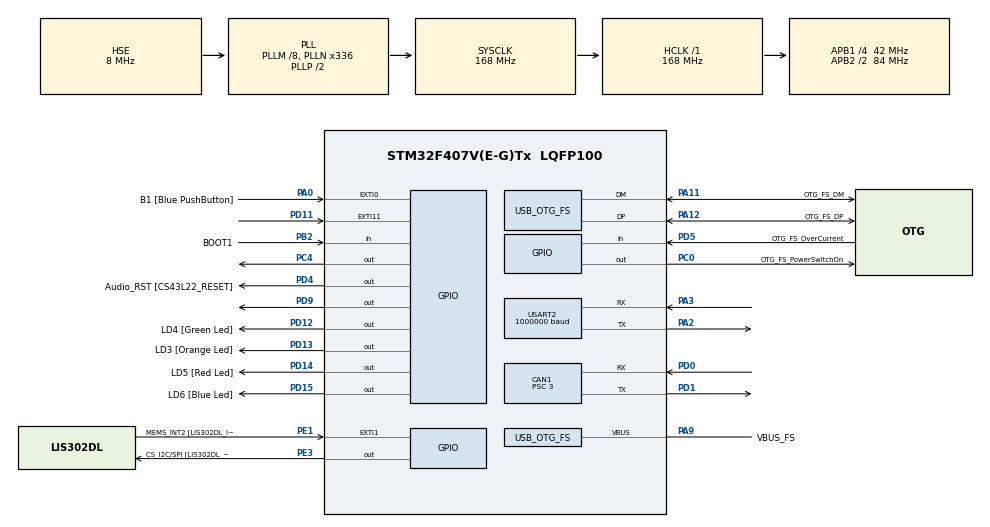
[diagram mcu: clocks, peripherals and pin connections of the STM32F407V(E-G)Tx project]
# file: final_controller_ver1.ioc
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CAN1.BS1=CAN_BS1_11TQ
CAN1.BS2=CAN_BS2_2TQ
CAN1.CalculateBaudRate=1000000
CAN1.CalculateTimeBit=1000
CAN1.CalculateTimeQuantum=71.42857142857143
CAN1.Prescaler=3
Mcu.Family=STM32F4
Mcu.Name=STM32F407V(E-G)Tx
Mcu.Package=LQFP100
NVIC.CAN1_RX0_IRQn=true\:0\:0\:false\:false\:true\:true\:true\:true
NVIC.EXTI15_10_IRQn=true\:0\:0\:false\:false\:true\:true\:true\:true
NVIC.OTG_FS_IRQn=true\:0\:0\:false\:false\:true\:true\:true\:true
NVIC.PriorityGroup=NVIC_PRIORITYGROUP_0
PA0-WKUP.GPIO_Label=B1 [Blue PushButton]
PA0-WKUP.GPIO_ModeDefaultEXTI=GPIO_MODE_EVT_RISING
PA0-WKUP.GPIO_PuPd=GPIO_NOPULL
PA0-WKUP.Signal=GPXTI0
PA10.GPIO_Label=OTG_FS_ID
PA10.GPIO_Mode=GPIO_MODE_AF_PP
PA10.GPIO_PuPd=GPIO_NOPULL
PA10.GPIO_Speed=GPIO_SPEED_FREQ_LOW
PA10.Signal=USB_OTG_FS_ID
PA11.GPIO_Label=OTG_FS_DM
PA11.GPIO_Mode=GPIO_MODE_AF_PP
PA11.GPIO_PuPd=GPIO_NOPULL
PA11.GPIO_Speed=GPIO_SPEED_FREQ_LOW
PA11.Mode=Host_Only
PA11.Signal=USB_OTG_FS_DM
PA12.GPIO_Label=OTG_FS_DP
PA12.GPIO_Mode=GPIO_MODE_AF_PP
PA12.GPIO_PuPd=GPIO_NOPULL
PA12.GPIO_Speed=GPIO_SPEED_FREQ_LOW
PA12.Mode=Host_Only
PA12.Signal=USB_OTG_FS_DP
PA13.GPIO_Label=SWDIO
PA13.Mode=Serial_Wire
PA13.Signal=SYS_JTMS-SWDIO
PA14.GPIO_Label=SWCLK
PA14.Mode=Serial_Wire
PA14.Signal=SYS_JTCK-SWCLK
PA2.Mode=Asynchronous
PA2.Signal=USART2_TX
PA3.Mode=Asynchronous
PA3.Signal=USART2_RX
PA4.GPIO_Label=I2S3_WS [CS43L22_LRCK]
PA4.GPIO_Mode=GPIO_MODE_AF_PP
PA4.GPIO_PuPd=GPIO_NOPULL
PA4.GPIO_Speed=GPIO_SPEED_FREQ_LOW
PA4.Signal=I2S3_WS
PA5.GPIO_Label=SPI1_SCK [LIS302DL_SCL/SPC]
PA5.GPIO_Mode=GPIO_MODE_AF_PP
PA5.GPIO_PuPd=GPIO_NOPULL
PA5.GPIO_Speed=GPIO_SPEED_FREQ_LOW
PA5.Signal=SPI1_SCK
PA6.GPIO_Label=SPI1_MISO [LIS302DL_SDO]
PA6.GPIO_Mode=GPIO_MODE_AF_PP
PA6.GPIO_PuPd=GPIO_NOPULL
PA6.GPIO_Speed=GPIO_SPEED_FREQ_LOW
PA6.Signal=SPI1_MISO
PA7.GPIO_Label=SPI1_MOSI [LIS302DL_SDA/SDI/SDO]
PA7.GPIO_Mode=GPIO_MODE_AF_PP
PA7.GPIO_PuPd=GPIO_NOPULL
PA7.GPIO_Speed=GPIO_SPEED_FREQ_LOW
PA7.Signal=SPI1_MOSI
PA9.GPIO_Label=VBUS_FS
PA9.GPIO_Mode=GPIO_MODE_INPUT
PA9.GPIO_PuPd=GPIO_NOPULL
PA9.Mode=Activate_VBUS
PA9.Signal=USB_OTG_FS_VBUS
PB10.GPIO_Label=CLK_IN [MP45DT02_CLK]
PB10.GPIO_Mode=GPIO_MODE_AF_PP
PB10.GPIO_PuPd=GPIO_NOPULL
PB10.GPIO_Speed=GPIO_SPEED_FREQ_LOW
PB10.Signal=I2S2_CK
PB2.GPIO_Label=BOOT1
PB2.GPIO_Mode=GPIO_MODE_INPUT
PB2.GPIO_PuPd=GPIO_NOPULL
PB2.Signal=GPIO_Input
PB3.GPIO_Label=SWO
PB3.Signal=SYS_JTDO-SWO
PB6.GPIO_Label=Audio_SCL [CS43L22_SCL]
PB6.GPIO_Mode=GPIO_MODE_AF_OD
PB6.GPIO_Pu=GPIO_PULLUP
PB6.GPIO_PuPd=GPIO_NOPULL
PB6.GPIO_Speed=GPIO_SPEED_FREQ_LOW
PB6.Signal=I2C1_SCL
PB9.GPIO_Label=Audio_SDA [CS43L22_SDA]
PB9.GPIO_Mode=GPIO_MODE_AF_OD
PB9.GPIO_Pu=GPIO_PULLUP
PB9.GPIO_PuPd=GPIO_NOPULL
PB9.GPIO_Speed=GPIO_SPEED_FREQ_LOW
PB9.Signal=I2C1_SDA
PC0.GPIO_Label=OTG_FS_PowerSwitchOn
PC0.GPIO_PuPd=GPIO_NOPULL
PC0.GPIO_Speed=GPIO_SPEED_FREQ_LOW
PC0.PinState=GPIO_PIN_SET
PC0.Signal=GPIO_Output
PC10.GPIO_Label=I2S3_SCK [CS43L22_SCLK]
PC10.GPIO_Mode=GPIO_MODE_AF_PP
PC10.GPIO_PuPd=GPIO_NOPULL
PC10.GPIO_Speed=GPIO_SPEED_FREQ_LOW
PC10.Signal=I2S3_CK
PC12.GPIO_Label=I2S3_SD [CS43L22_SDIN]
PC12.GPIO_Mode=GPIO_MODE_AF_PP
PC12.GPIO_PuPd=GPIO_NOPULL
PC12.GPIO_Speed=GPIO_SPEED_FREQ_LOW
PC12.Signal=I2S3_SD
PC14-OSC32_IN.GPIO_Label=PC14-OSC32_IN
PC14-OSC32_IN.Mode=LSE-External-Oscillator
PC14-OSC32_IN.Signal=RCC_OSC32_IN
PC15-OSC32_OUT.GPIO_Label=PC15-OSC32_OUT
PC15-OSC32_OUT.Mode=LSE-External-Oscillator
PC15-OSC32_OUT.Signal=RCC_OSC32_OUT
PC3.GPIO_Label=PDM_OUT [MP45DT02_DOUT]
PC3.GPIO_Mode=GPIO_MODE_AF_PP
PC3.GPIO_PuPd=GPIO_NOPULL
PC3.GPIO_Speed=GPIO_SPEED_FREQ_LOW
PC3.Signal=I2S2_SD
PC4.Signal=GPIO_Output
PC7.GPIO_Label=I2S3_MCK [CS43L22_MCLK]
PC7.GPIO_Mode=GPIO_MODE_AF_PP
PC7.GPIO_PuPd=GPIO_NOPULL
PC7.GPIO_Speed=GPIO_SPEED_FREQ_LOW
PC7.Signal=I2S3_MCK
PD0.Mode=CAN_Activate
PD0.Signal=CAN1_RX
PD1.Mode=CAN_Activate
PD1.Signal=CAN1_TX
PD11.GPIO_ModeDefaultEXTI=GPIO_MODE_IT_FALLING
PD11.GPIO_PuPd=GPIO_PULLUP
PD11.Signal=GPXTI11
PD12.GPIO_Label=LD4 [Green Led]
PD12.GPIO_PuPd=GPIO_NOPULL
PD12.GPIO_Speed=GPIO_SPEED_FREQ_LOW
PD12.Signal=GPIO_Output
PD13.GPIO_Label=LD3 [Orange Led]
PD13.GPIO_PuPd=GPIO_NOPULL
PD13.GPIO_Speed=GPIO_SPEED_FREQ_LOW
PD13.Signal=GPIO_Output
PD14.GPIO_Label=LD5 [Red Led]
PD14.GPIO_PuPd=GPIO_NOPULL
PD14.GPIO_Speed=GPIO_SPEED_FREQ_LOW
PD14.Signal=GPIO_Output
PD15.GPIO_Label=LD6 [Blue Led]
PD15.GPIO_PuPd=GPIO_NOPULL
PD15.GPIO_Speed=GPIO_SPEED_FREQ_LOW
PD15.Signal=GPIO_Output
PD4.GPIO_Label=Audio_RST [CS43L22_RESET]
PD4.GPIO_PuPd=GPIO_NOPULL
PD4.GPIO_Speed=GPIO_SPEED_FREQ_LOW
PD4.Signal=GPIO_Output
PD5.GPIO_Label=OTG_FS_OverCurrent
PD5.GPIO_Mode=GPIO_MODE_INPUT
PD5.GPIO_PuPd=GPIO_NOPULL
PD5.Signal=GPIO_Input
PD9.Signal=GPIO_Output
PE1.GPIO_Label=MEMS_INT2 [LIS302DL_INT2]
PE1.GPIO_ModeDefaultEXTI=GPIO_MODE_EVT_RISING
PE1.GPIO_PuPd=GPIO_NOPULL
PE1.Signal=GPXTI1
PE3.GPIO_Label=CS_I2C/SPI [LIS302DL_CS_I2C/SPI]
PE3.GPIO_PuPd=GPIO_NOPULL
PE3.GPIO_Speed=GPIO_SPEED_FREQ_LOW
PE3.Signal=GPIO_Output
PH0-OSC_IN.GPIO_Label=PH0-OSC_IN
PH0-OSC_IN.Mode=HSE-External-Oscillator
PH0-OSC_IN.Signal=RCC_OSC_IN
PH1-OSC_OUT.GPIO_Label=PH1-OSC_OUT
PH1-OSC_OUT.Mode=HSE-External-Oscillator
PH1-OSC_OUT.Signal=RCC_OSC_OUT
ProjectManager.HeapSize=0x200
ProjectManager.StackSize=0x400
ProjectManager.TargetToolchain=MDK-ARM V5
RCC.48MHZClocksFreq_Value=48000000
RCC.AHBFreq_Value=168000000
RCC.APB1CLKDivider=RCC_HCLK_DIV4
RCC.APB1Freq_Value=42000000
RCC.APB1TimFreq_Value=84000000
RCC.APB2CLKDivider=RCC_HCLK_DIV2
RCC.APB2Freq_Value=84000000
RCC.APB2TimFreq_Value=168000000
RCC.CortexFreq_Value=168000000
RCC.HCLKFreq_Value=168000000
RCC.HSE_VALUE=8000000
RCC.HSI_VALUE=16000000
RCC.PLLM=8
RCC.PLLN=336
RCC.PLLQ=7
RCC.SYSCLKFreq_VALUE=168000000
RCC.SYSCLKSource=RCC_SYSCLKSOURCE_PLLCLK
RCC.VCOOutputFreq_Value=336000000
USART2.BaudRate=1000000
USART2.VirtualMode=VM_ASYNC
USB_HOST.BSP.number=1
USB_HOST.USBH_HandleTypeDef-CDC_FS=hUsbHostFS
USB_HOST.VirtualModeFS=Cdc
USB_HOST0.BSP.STBoard=false
USB_HOST0.BSP.api=Unknown
USB_HOST0.BSP.instance=PC0
USB_HOST0.BSP.ip=GPIO
USB_HOST0.BSP.mode=Output
USB_HOST0.BSP.name=Drive_VBUS_FS
USB_HOST0.BSP.solution=PC0
USB_OTG_FS.VirtualMode=Host_Only
USB_OTG_FS.phy_itface=HCD_PHY_EMBEDDED
VP_USB_HOST_VS_USB_HOST_CDC_FS.Mode=CDC_FS
board=STM32F407G-DISC1

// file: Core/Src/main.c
/* USER CODE BEGIN Header */
/**
 ******************************************************************************
 * @file           : main.c
 * @brief          : Main program body
 ******************************************************************************
 * @attention
 *
 * Copyright (c) 2024 STMicroelectronics.
 * All rights reserved.
 *
 * This software is licensed under terms that can be found in the LICENSE file
 * in the root directory of this software component.
 * If no LICENSE file comes with this software, it is provided AS-IS.
 *
 ******************************************************************************
 */
/* USER CODE END Header */
#include "main.h"
#include "can.h"
#include "usart.h"
#include "usb_host.h"
#include "gpio.h"

/* USER CODE BEGIN Includes */
#include "my_dynamixel.h"
#include "can_sys_table.h"
#include "stdlib.h"
#include "math.h"
/* USER CODE END Includes */

/* USER CODE BEGIN PD */

// for gripper motion state
#define GRIPPER_CONTROL_OFF 0
#define GRIPPER_INITIALIZING 1
#define GRIPPER_INITIALIZED 2
#define GRIPPER_START_RELEASING 3
#define GRIPPER_START_HOLDING 4
#define GRIPPER_KEEP_RELEASING 5
#define GRIPPER_KEEP_HOLDING 6
#define GRIPPER_MISS_RELEASING 7
#define GRIPPER_MISS_HOLDING 8

#define RELEASING_ANGLE 330
#define HOLDING_ANGLE 290
#define INITIAL_ANGLE 330

// #define GRIPPER_CONTROL_OFF 0
// #define GRIPPER_STATE_RELEASING 1
// #define GRIPPER_STATE_HOLDING 2

// for motor on/off state
#define GRIPPER_TORQUE_OFF 0
#define GRIPPER_TORQUE_ON 1

// for connection and initial check
#define CHECK 1
#define UNCHECK 0
#define UNKNOWN -1

/* USER CODE END PD */

/* USER CODE BEGIN PV */

// UART TX_PA2 RX_PA3

//  paramter for experiment
int flag = 0;
uint32_t startTick, endTick, delay_ms;
int recordFlag = 0;
/////////////////////////////////////////////

volatile ServoXM4340 myServo;

// CAN TX_PD1 RX_PD0
uint8_t TxData[8];
uint8_t RxData[8];
uint32_t TxMailbox = 0;
CAN_TxHeaderTypeDef TxHeader;
uint16_t canIndex;

int present_current = 0;
int last_current = 0;
int present_position = 0;
float present_angle = 0;

uint16_t goalCur = 30;
float goalAngle;
uint32_t goalForce = 0;

int gripperState = GRIPPER_CONTROL_OFF;
int torqueState = GRIPPER_TORQUE_OFF;
int initialCheck = UNCHECK;
int connectCheck = UNCHECK;
// int okFlag;

uint32_t startCheckPos;
uint32_t startCheckCur;
int initFailedCount = 0;

/* USER CODE END PV */

void SystemClock_Config(void);
void MX_USB_HOST_Process(void);

/* USER CODE BEGIN PFP */
void forceToCmd(int force, float angle);
/* USER CODE END PFP */

int main(void)
{

  /* MCU Configuration--------------------------------------------------------*/

  /* Reset of all peripherals, Initializes the Flash interface and the Systick. */
  HAL_Init();

  /* Configure the system clock */
  SystemClock_Config();

  /* Initialize all configured peripherals */
  MX_GPIO_Init();
  MX_USART2_UART_Init();
  MX_USB_HOST_Init();
  MX_CAN1_Init();
  /* USER CODE BEGIN 2 */
  myServo.huart = &huart2;
  myServo.ctrlPort = GPIOC;
  myServo.ctrlPin = GPIO_PIN_4;
  myServo.ID = 1;

  // servo state check for debugging
  setServo_TorqueENA(&myServo, TORQUE_DISABLE);
  setServo_OperatingMode(&myServo, CurrentBased_POS_CtrlMode);

  myServo.TorqueENA = getServo_TorqueENA(&myServo);
  myServo.BaudRate = getServo_BaudRate(&myServo);
  myServo.OperatingMode = getServo_OperatingMode(&myServo);

  // setServo_TorqueENA(&myServo, TORQUE_ENABLE);
  // torqueState = GRIPPER_TORQUE_ON;
  // setServo_GoalPosition(&myServo, 300);
  // HAL_GPIO_WritePin(GPIOD, LD4_Pin, GPIO_PIN_SET);

  // Set Can Filter
  CAN1_FilterInit(0,                     // Bank
                  CAN_FILTERMODE_IDLIST, // Mode
                  CAN_FILTERSCALE_16BIT, // Scale
                  1 << 5,                // FilterIdHigh
                  2 << 5,                // FilterIdLow
                  7 << 5,                // MaskIdHigh
                  0 << 5,                // MaskIdLow
                  CAN_FILTER_FIFO0,      // FIFOx
                  ENABLE);               // Activation

  // Enable Can Interrupt
  HAL_CAN_ActivateNotification(&hcan1, CAN_IT_RX_FIFO0_MSG_PENDING);
  HAL_CAN_Start(&hcan1);

  // 4 state managing
  gripperState = GRIPPER_CONTROL_OFF;
  torqueState = GRIPPER_TORQUE_OFF;
  initialCheck = UNKNOWN;
  connectCheck = UNKNOWN;
  initFailedCount = 0;

  // startTick = 0;
  // endTick = 0;
  // delay_ms = 0;

  /* USER CODE END 2 */

  /* Infinite loop */
  while (1)
  {
    MX_USB_HOST_Process();

    /* USER CODE BEGIN 3 */

    // delay_ms = endTick - startTick;

    // TxDataAssign(TxData, CANSYS_STATE_STM_INIT_OK, 0);
    // CAN_TxheaderSetup(&TxHeader, 1, 0, CAN_ID_STD, CAN_RTR_DATA, 8, DISABLE);
    // HAL_CAN_AddTxMessage(&hcan1, &TxHeader, TxData, &TxMailbox);

    // State check and switch
    // if (myServo.statsGRIPPER_STATE_UNKNOWN;

    //////////////////////////   some none-state managing   ////////////////////////////////
    //////////////////////////////////////////////////////////////////////////////

    // for motor on or off
    if (torqueState == GRIPPER_TORQUE_ON && myServo.TorqueENA == TORQUE_DISABLE)
    {
      setServo_TorqueENA(&myServo, TORQUE_ENABLE);
      myServo.TorqueENA = getServo_TorqueENA(&myServo);
    }

    if (connectCheck == UNCHECK)
    {
      TxDataAssign(TxData, CANSYS_STATE_STM_CONNECT_OK, 0);
      CAN_TxheaderSetup(&TxHeader, TxID_ONLY_PI, 0, CAN_ID_STD, CAN_RTR_DATA, 8, DISABLE);
      if (HAL_CAN_AddTxMessage(&hcan1, &TxHeader, TxData, &TxMailbox) != HAL_OK)
      {
        // HAL_GPIO_WritePin(GPIOD, LD3_Pin, GPIO_PIN_SET);
        flag = 0;
      }
      else
        flag = 1;
      connectCheck = CHECK;
    }

    /************************  state machine ***************************/
    /////////////////////////////////////////////////////////////////////////////

    // Monitor motor
    last_current = present_current;
    present_current = getServo_PresentCurrent(&myServo);
    present_position = getServo_PresentPosition(&myServo);
    present_angle = (float)present_position * 360.0 / 4096.0;

    if (torqueState == GRIPPER_TORQUE_ON)
    {
      switch (gripperState)
      {
      case GRIPPER_INITIALIZING:
      {
        // goalAngle = INITIAL_ANGLE;
        // goalCur = 30;

        // keep trying initialize until initialCheck success
        if (fabsf(present_angle - INITIAL_ANGLE) < 5)
        {
          if (abs(present_current) > 10)
          {
            if (startCheckCur == UNCHECK)
              startCheckCur = HAL_GetTick();
            else if (HAL_GetTick() - startCheckCur > 1000)
              initialCheck = startCheckCur = UNCHECK;
          }
          else
            initialCheck = CHECK;
          startCheckPos = UNCHECK;
        }
        else
        {
          if (startCheckPos == UNCHECK)
            startCheckPos = HAL_GetTick();
          else if (HAL_GetTick() - startCheckPos > 1000)
            initialCheck = startCheckPos = UNCHECK;
        }

        if (initialCheck == CHECK)
        {
          TxDataAssign(TxData, CANSYS_STATE_STM_INIT_OK, 0);
          CAN_TxheaderSetup(&TxHeader, TxID_ONLY_PI, 0, CAN_ID_STD, CAN_RTR_DATA, 8, DISABLE);
          HAL_CAN_AddTxMessage(&hcan1, &TxHeader, TxData, &TxMailbox);
          gripperState = GRIPPER_INITIALIZED;
          startCheckPos = startCheckCur = UNCHECK;
        }
        else if (initialCheck == UNCHECK)
        {
          initialCheck = UNKNOWN;
          TxDataAssign(TxData, CANSYS_STATE_STM_INIT_NOTOK, 0);
          CAN_TxheaderSetup(&TxHeader, TxID_ONLY_PI, 0, CAN_ID_STD, CAN_RTR_DATA, 8, DISABLE);
          HAL_CAN_AddTxMessage(&hcan1, &TxHeader, TxData, &TxMailbox);
        }

        break;
      }

      /********************************************************************* */
      case GRIPPER_INITIALIZED:
      {
        // goalAngle = INITIAL_ANGLE;
        // goalCur = 30;

        int ok_Flag = true;

        if (fabsf(present_angle - INITIAL_ANGLE) < 5)
        {
          if (abs(present_current) > 10)
          {
            if (startCheckCur == false)
              startCheckCur = HAL_GetTick();
            else if (HAL_GetTick() - startCheckCur > 500)
              ok_Flag = startCheckCur = false;
          }
          else
            startCheckCur = 0;
          startCheckPos = 0;
        }
        else
        {
          if (startCheckPos == false)
            startCheckPos = HAL_GetTick();
          else if (HAL_GetTick() - startCheckPos > 500)
            ok_Flag = startCheckPos = false;
        }

        if (!ok_Flag)
        {
          gripperState = GRIPPER_INITIALIZING;
          TxDataAssign(TxData, CANSYS_STATE_STM_INIT_NOTOK, 0);
          CAN_TxheaderSetup(&TxHeader, TxID_ONLY_PI, 0, CAN_ID_STD, CAN_RTR_DATA, 8, DISABLE);
          HAL_CAN_AddTxMessage(&hcan1, &TxHeader, TxData, &TxMailbox);
          initFailedCount = startCheckPos = startCheckCur = false;
          initialCheck = UNKNOWN;
        }

        break;
      }

      /********************************************************************* */
      case GRIPPER_START_RELEASING:
      {
        // send pi start releasing
        TxDataAssign(TxData, CANSYS_STATE_STM_START_RELEASING, 0);
        CAN_TxheaderSetup(&TxHeader, TxID_ONLY_PI, 0, CAN_ID_STD, CAN_RTR_DATA, 8, DISABLE);
        HAL_CAN_AddTxMessage(&hcan1, &TxHeader, TxData, &TxMailbox);

        // motion commend
        // goalAngle = 320;
        // goalCur = 200;

        // next state

        gripperState = GRIPPER_KEEP_RELEASING;
        break;
      }
      /********************************************************************* */
      case GRIPPER_START_HOLDING:
      {
        // send pi start holding
        TxDataAssign(TxData, CANSYS_STATE_STM_START_HOLDING, 0);
        CAN_TxheaderSetup(&TxHeader, TxID_ONLY_PI, 0, CAN_ID_STD, CAN_RTR_DATA, 8, DISABLE);
        HAL_CAN_AddTxMessage(&hcan1, &TxHeader, TxData, &TxMailbox);

        // motion commend
        // goalAngle = 280;
        // goalCur = 200;

        // next state
        gripperState = GRIPPER_KEEP_HOLDING;
        break;
      }

      /********************************************************************* */
      case GRIPPER_KEEP_RELEASING:
      {
        // goalCur = 30;
        // goalAngle = RELEASING_ANGLE;
        int missRelFlag = true;

        if (fabsf(present_angle - RELEASING_ANGLE) < 5)
        {
          if (abs(present_current) > 10)
          {
            if (startCheckCur == false)
              startCheckCur = HAL_GetTick();
            else if (HAL_GetTick() - startCheckCur > 500)
              missRelFlag = startCheckCur = false;
          }
          else
            startCheckCur = 0;
          startCheckPos = 0;
        }
        else
        {
          if (startCheckPos == false)
            startCheckPos = HAL_GetTick();
          else if (HAL_GetTick() - startCheckPos > 500)
            missRelFlag = startCheckPos = false;
        }

        if (!missRelFlag)
        {
          gripperState = GRIPPER_MISS_RELEASING;
          TxDataAssign(TxData, CANSYS_STATE_STM_MISS_RELEASING, 0);
          CAN_TxheaderSetup(&TxHeader, TxID_ONLY_PI, 0, CAN_ID_STD, CAN_RTR_DATA, 8, DISABLE);
          HAL_CAN_AddTxMessage(&hcan1, &TxHeader, TxData, &TxMailbox);
        }

        break;
      }

      /********************************************************************* */
      case GRIPPER_KEEP_HOLDING:
      {
        // goalCur = 80;
        // goalAngle = HOLDING_ANGLE - 20;

        int missHolFlag = true;

        /*******************************/
        /*******************************/
        // this condition is only for delay test
        /*******************************/
        /*******************************/
        if (present_angle < HOLDING_ANGLE + 10 && recordFlag)
        {
          delay_ms = HAL_GetTick() - startTick;
          recordFlag = false;
          // delay_ms = 0;
        }
        /*******************************/
        /*******************************/

        if (present_angle < HOLDING_ANGLE - 9)
        {
          missHolFlag = startCheckPos = false;
          // HAL_GPIO_WritePin(GPIOD, LD3_Pin, GPIO_PIN_SET);
        }

        if (present_current > 45)
        {
          // HAL_GPIO_WritePin(GPIOD, LD4_Pin, GPIO_PIN_SET);
          missHolFlag = startCheckPos = false;
        }
        if (last_current > 60 && fabs(present_angle) - HOLDING_ANGLE < 2 && present_current - last_current > 30)
        {
          missHolFlag = startCheckPos = false;
          // HAL_GPIO_WritePin(GPIOD, LD5_Pin, GPIO_PIN_SET);
        }

        if (!missHolFlag)
        {
          goalAngle = RELEASING_ANGLE;
          goalCur = 200;
          gripperState = GRIPPER_MISS_HOLDING;
          TxDataAssign(TxData, CANSYS_STATE_STM_MISS_HOLDING, 0);
          CAN_TxheaderSetup(&TxHeader, TxID_ONLY_PI, 0, CAN_ID_STD, CAN_RTR_DATA, 8, DISABLE);
          HAL_CAN_AddTxMessage(&hcan1, &TxHeader, TxData, &TxMailbox);
        }

        break;
      }

      /********************************************************************* */
      case GRIPPER_MISS_HOLDING:
      {
        goalCur = 30;
        goalAngle = RELEASING_ANGLE;

        break;
      }

      /********************************************************************* */
      case GRIPPER_MISS_RELEASING:
      {
        goalCur = 20;
        goalAngle = RELEASING_ANGLE;

        break;
      }
      default:
        break;
      }
      // set motor
      // servoProfile(&myServo, goalAngle, goalCur);

      // if (fabsf(present_angle - goalAngle) < 2)
      //   setServo_GoalCurrent(&myServo, goalCur);
      // else
      //   setServo_GoalCurrent(&myServo, 200);

      setServo_GoalPosition(&myServo, goalAngle);
      setServo_GoalCurrent(&myServo, goalCur);
    }
    // *********************************************************************************************************************
    // *********************************************************************************************************************
    // *********************************************************************************************************************
    // *********************************************************************************************************************
    // *********************************************************************************************************************
    // *********************************************************************************************************************
    // *********************************************************************************************************************
    // if (torqueState == GRIPPER_TORQUE_ON)
    // {
    //   if (goalForce == 10 && gripperState == GRIPPER_STATE_RELEASING)
    //   {
    //     goalAngle = 320;
    //     goalCur = 30;
    //     if (startAction_flag)
    //     {
    //       TxDataAssign(TxData, CANSYS_STATE_STM_START_RELEASING, 0);
    //       CAN_TxheaderSetup(&TxHeader, TxID_ONLY_PI, 0, CAN_ID_STD, CAN_RTR_DATA, 8, DISABLE);
    //       HAL_CAN_AddTxMessage(&hcan1, &TxHeader, TxData, &TxMailbox);
    //       startAction_flag = false;
    //     }
    //   }
    //   else if (goalForce == 200 && gripperState == GRIPPER_STATE_HOLDING)
    //   {
    //     goalAngle = 285;
    //     goalCur = 100;
    //     if (startAction_flag)
    //     {
    //       TxDataAssign(TxData, CANSYS_STATE_STM_START_HOLDING, 0);
    //       CAN_TxheaderSetup(&TxHeader, TxID_ONLY_PI, 0, CAN_ID_STD, CAN_RTR_DATA, 8, DISABLE);
    //       HAL_CAN_AddTxMessage(&hcan1, &TxHeader, TxData, &TxMailbox);
    //       startAction_flag = false;
    //     }
    //   }

    //   setServo_GoalPosition(&myServo, goalAngle);
    //   setServo_GoalCurrent(&myServo, goalCur);
    // }
  }
  /* USER CODE END 3 */
}

void SystemClock_Config(void)
{
  RCC_OscInitTypeDef RCC_OscInitStruct = {0};
  RCC_ClkInitTypeDef RCC_ClkInitStruct = {0};

  /** Configure the main internal regulator output voltage
  */
  __HAL_RCC_PWR_CLK_ENABLE();
  __HAL_PWR_VOLTAGESCALING_CONFIG(PWR_REGULATOR_VOLTAGE_SCALE1);

  /** Initializes the RCC Oscillators according to the specified parameters
  * in the RCC_OscInitTypeDef structure.
  */
  RCC_OscInitStruct.OscillatorType = RCC_OSCILLATORTYPE_HSE;
  RCC_OscInitStruct.HSEState = RCC_HSE_ON;
  RCC_OscInitStruct.PLL.PLLState = RCC_PLL_ON;
  RCC_OscInitStruct.PLL.PLLSource = RCC_PLLSOURCE_HSE;
  RCC_OscInitStruct.PLL.PLLM = 8;
  RCC_OscInitStruct.PLL.PLLN = 336;
  RCC_OscInitStruct.PLL.PLLP = RCC_PLLP_DIV2;
  RCC_OscInitStruct.PLL.PLLQ = 7;
  if (HAL_RCC_OscConfig(&RCC_OscInitStruct) != HAL_OK)
  {
    Error_Handler();
  }

  /** Initializes the CPU, AHB and APB buses clocks
  */
  RCC_ClkInitStruct.ClockType = RCC_CLOCKTYPE_HCLK|RCC_CLOCKTYPE_SYSCLK
                              |RCC_CLOCKTYPE_PCLK1|RCC_CLOCKTYPE_PCLK2;
  RCC_ClkInitStruct.SYSCLKSource = RCC_SYSCLKSOURCE_PLLCLK;
  RCC_ClkInitStruct.AHBCLKDivider = RCC_SYSCLK_DIV1;
  RCC_ClkInitStruct.APB1CLKDivider = RCC_HCLK_DIV4;
  RCC_ClkInitStruct.APB2CLKDivider = RCC_HCLK_DIV2;

  if (HAL_RCC_ClockConfig(&RCC_ClkInitStruct, FLASH_LATENCY_5) != HAL_OK)
  {
    Error_Handler();
  }
}

/* USER CODE BEGIN 4 */

void HAL_CAN_RxFifo0MsgPendingCallback(CAN_HandleTypeDef *hcan)
{
  /* Prevent unused argument(s) compilation warning */
  // UNUSED(hcan);
  // HAL_GPIO_WritePin(GPIOD, LD3_Pin, GPIO_PIN_SET);

  CAN_RxHeaderTypeDef RxHeader;
  if (HAL_CAN_GetRxMessage(&hcan1, CAN_RX_FIFO0, &RxHeader, RxData) == HAL_OK)
  {

    // HAL_GPIO_TogglePin(GPIOD, LD4_Pin);
    canIndex = (uint16_t)(((RxData[1] << 4) | RxData[2]) << 8) | RxData[3];

    switch (canIndex)
    {

    case CANSYS_CMD_PI_CONNECTING: // connecting check
      connectCheck = UNCHECK;
      break;

    case CANSYS_CMD_PI_INITSTATE:

      // TxDataAssign(TxData, CANSYS_STATE_STM_INIT_OK, 0);
      // CAN_TxheaderSetup(&TxHeader, TxID_ONLY_PI, 0, CAN_ID_STD, CAN_RTR_DATA, 8, DISABLE);
      // HAL_CAN_AddTxMessage(&hcan1, &TxHeader, TxData, &TxMailbox);

      // after this command, no EEPROM parameter can be modified
      // servo is now able to rotate

      torqueState = GRIPPER_TORQUE_ON;
      gripperState = GRIPPER_INITIALIZING;
      goalForce = RxParamToInt(RxData);
      forceToCmd(goalForce, INITIAL_ANGLE);
      initFailedCount = startCheckPos = startCheckCur = UNCHECK;
      initialCheck = UNKNOWN;
      break;

    case CANSYS_CMD_PI_HOLD:
      // HAL_GPIO_TogglePin(GPIOD, LD3_Pin);
      startTick = HAL_GetTick();
      recordFlag = true;
      gripperState = GRIPPER_START_HOLDING;
      goalForce = RxParamToInt(RxData);
      forceToCmd(goalForce, HOLDING_ANGLE - 10);
      startCheckPos = startCheckCur = UNCHECK;
      break;

    case CANSYS_CMD_PI_REALEASE:
      // HAL_GPIO_TogglePin(GPIOD, LD3_Pin);
      gripperState = GRIPPER_START_RELEASING;
      goalForce = RxParamToInt(RxData);
      forceToCmd(goalForce, RELEASING_ANGLE);
      startCheckPos = startCheckCur = UNCHECK;
      break;

    // case CANSYS_STATE_ONLY_FOR_EXPERIMENT_HOLDING:
    //   startTick = HAL_GetTick();
    //   gripperState = GRIPPER_STATE_HOLDING;
    //   torqueState = GRIPPER_TORQUE_ON;
    //   initialCheck = CHECK;
    //   connectCheck = CHECK;
    //   HAL_GPIO_WritePin(GPIOD, GPIO_PIN_9, GPIO_PIN_SET);
    //   goalForce = RxParamToInt(RxData);

    //   break;

    // case CANSYS_STATE_ONLY_FOR_EXPERIMENT_RELEASING:
    //   startTick = 0;
    //   endTick = 0;
    //   gripperState = GRIPPER_STATE_RELEASING;
    //   torqueState = GRIPPER_TORQUE_ON;
    //   initialCheck = CHECK;
    //   connectCheck = CHECK;
    //   HAL_GPIO_WritePin(GPIOD, GPIO_PIN_9, GPIO_PIN_RESET);
    //   goalForce = RxParamToInt(RxData);

    //   break;
    default:
      break;
    }
  }
}

void HAL_UART_RxCpltCallback(UART_HandleTypeDef *huart)
{

  if (huart->Instance == USART2)
  {
    UNUSED(huart);
    setServoResponse_RxFinished(&myServo, true);
  }
}

void forceToCmd(int force, float angle)
{
  goalAngle = angle;
  if (force == 10)
    goalCur = 30;
  else if (force == 200)
    goalCur = 100;
}

// void servoProfile(ServoXM4340 *myServo, float goalAngle, uint16_t goalCur)
// {

// }

// void HAL_GPIO_EXTI_Callback(uint16_t GPIO_Pin)
// {
//   if (GPIO_Pin == GPIO_PIN_11)
//   {
//     endTick = HAL_GetTick();
//   }
// }
/* USER CODE END 4 */

void Error_Handler(void)
{
  __disable_irq();
  while (1)
  {
  }
}
